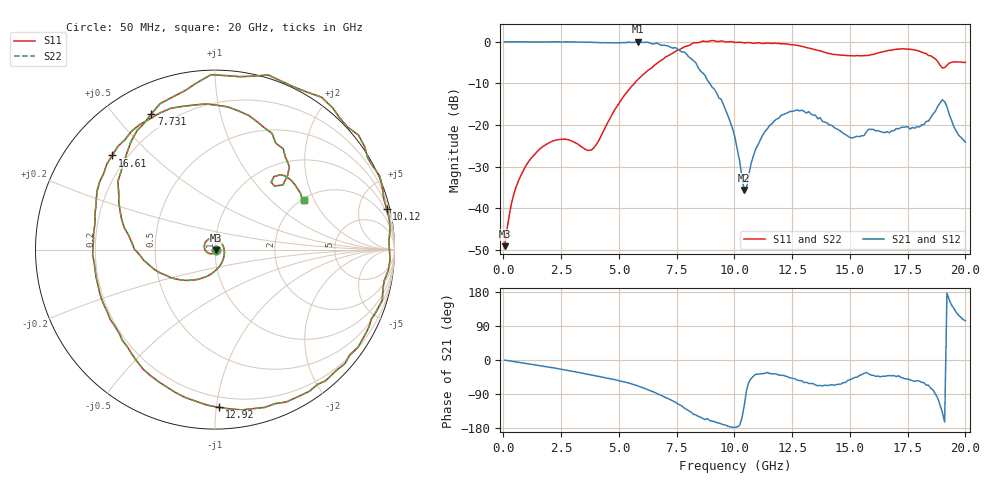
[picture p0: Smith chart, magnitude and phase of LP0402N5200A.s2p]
!	AVX THIN FILM OPERATION
!	0402 SIZE LOW PASS FILTER P/N LP0402N5200ANTR
!	Created August 2007
!	Network Analyzer HP8720E S.07.64: Feb23, 2000 Serial No.US39172382
#	mhz	S	db	R	50
!	S11	S11	S21	S21	S12	S12	S22	S22
!	dB	Phase	dB	Phase	dB	Phase	dB	Phase
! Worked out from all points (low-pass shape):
!   201 points, 50 MHz to 20 GHz, reference 50 ohm
!   highest |S21| = 0.01 dB at 5.835 GHz (marker M1); lowest = -35.6 dB at 10.42 GHz (marker M2)
!   |S21| within 3 dB of the highest: start of sweep to 7.925 GHz
!   lowest |S11| = -49.0 dB at 50 MHz (marker M3), VSWR 1.01, Z = 50.3 - j0.162 ohm
!   |S11| at or under -10 dB: start of sweep to 5.668 GHz
!   |S22| runs from -49.0 to 0.3 dB; largest |S21 - S12| = 0
!   S11 on the Smith chart (normalised r, x): 50 MHz: 1.01, -0.00; 7.731 GHz: 0.13, +0.63; 10.12 GHz: 0.63, +8.43; 12.92 GHz: 0.13, -1.02; 16.61 GHz: 0.14, +0.38; 20 GHz: 2.06, +1.66
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50  -49.04 -27.0  -0.04 -0.6  -0.04 -0.6  -49.04 -27.0
449  -36.57 -97.5  -0.02 -4.3  -0.02 -4.3  -36.57 -97.5
1147.25  -28.34 -145.4  -0.04 -10.8  -0.04 -10.8  -28.34 -145.4
2244.5  -23.64 149.8  -0.05 -21.5  -0.05 -21.5  -23.64 149.8
3441.5  -25.43 56.2  -0.10 -35.1  -0.10 -35.1  -25.43 56.2
3940.25  -25.26 -15.4  -0.15 -41.0  -0.15 -41.0  -25.26 -15.4
5835.5  -8.99 -161.7  0.01 -68.7  0.01 -68.7  -8.99 -161.7
6733.25  -4.84 157.5  -0.59 -91.0  -0.59 -91.0  -4.84 157.5
7730.75  -1.56 115.1  -2.46 -121.8  -2.46 -121.8  -1.56 115.1
8628.5  0.15 73.1  -7.49 -154.2  -7.49 -154.2  0.15 73.1
10025  -0.15 16.9  -23.00 -177.6  -23.00 -177.6  -0.15 16.9
10124.75  -0.15 13.5  -25.89 -176.4  -25.89 -176.4  -0.15 13.5
10424  -0.27 2.8  -35.58 -121.1  -35.58 -121.1  -0.27 2.8
11321.75  -0.35 -26.8  -21.54 -35.3  -21.54 -35.3  -0.35 -26.8
12917.75  -1.12 -88.6  -16.41 -54.7  -16.41 -54.7  -1.12 -88.6
13416.5  -1.80 -108.8  -17.62 -62.6  -17.62 -62.6  -1.80 -108.8
14813  -3.28 -159.9  -22.27 -59.5  -22.27 -59.5  -3.28 -159.9
16608.5  -2.20 137.5  -21.58 -41.8  -21.58 -41.8  -2.20 137.5
16708.25  -2.05 133.3  -21.85 -41.2  -21.85 -41.2  -2.05 133.3
17805.5  -1.96 84.8  -20.73 -56.1  -20.73 -56.1  -1.96 84.8
19002.5  -6.28 46.9  -13.92 -138.1  -13.92 -138.1  -6.28 46.9
20000  -4.93 28.9  -24.09 103.5  -24.09 103.5  -4.93 28.9
